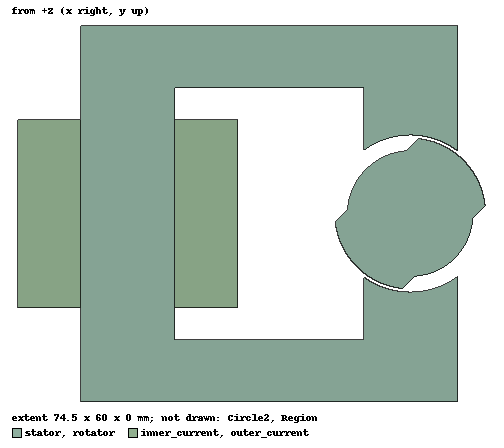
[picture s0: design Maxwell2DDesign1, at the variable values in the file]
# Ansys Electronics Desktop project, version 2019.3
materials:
  vacuum: permittivity=1
  lead: permeability=0.999983 conductivity=5000000
  iron: permeability=4000 conductivity=10300000
  copper: permeability=0.999991 conductivity=58000000
  steel_1008: permeability{HUnit=A_per_meter BUnit=tesla curve (0, 0) (159.2, 0.2402) (318.3, 0.8654) (477.5, 1.1106) (636.6, 1.2458) (795.8, 1.331) (1591.5, 1.5) (3183.1, 1.6) (4774.6, 1.683) (6366.2, 1.741) (7957.7, 1.78) (15915.5, 1.905) (31831, 2.025) (47746.5, 2.085) (63662, 2.13) (79577.5, 2.165) (159155, 2.28) (318310, 2.485) (397887, 2.5851)} conductivity=2000000
  Stainless steel, 430, annealed: permeability=2000 conductivity=1702130 magnetic_coercivity{Magnitude=-159.155A_per_meter DirComp1=1 DirComp2=0 DirComp3=0}
  steel_1010: permittivity=1 permeability{HUnit=A_per_meter BUnit=tesla curve (0, 0) (238.7, 0.2003) (318.3, 0.3204) (358.1, 0.40045) (437.7, 0.50055) (477.5, 0.5606) (636.6, 0.7908) (795.8, 0.931) (1114.1, 1.1014) (1273.2, 1.2016) (1591.5, 1.302) (2228.2, 1.4028) (3183.1, 1.524) (4774.6, 1.626) (6366.2, 1.698) (7957.7, 1.73) (15915.5, 1.87) (31831, 1.99) (47746.5, 2.04) (63662, 2.07) (79577.5, 2.095) (159155, 2.2) (318310, 2.4)} conductivity=2000000 lande_g_factor=2

design Maxwell2DDesign1 (Maxwell 2D, Transient, XY geometry, model units mm)
options: ComputeTransientInductance ModelDepth=20mm Multiplier=1
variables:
  r_inner = 10mm
  rect_inner_x = 15mm
  rect_inner_y = 18.7338mm
  r_outer = 12mm
  r_envelope = 12.5mm
  stator_width = 15mm
  stator_length = 40mm
  inner_space = 30mm
  length = 60mm
  copper_x = 10mm
  copper_y = 30mm
  r_band = 12.4mm
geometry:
  circle_inner = circle(normal=Z, centre=(0mm, 0mm, 0mm), radius=r_inner)
  Rectangle1 = rectangle(corner=(-rect_inner_x/2, -rect_inner_y/2 -5mm, 0mm), x_size=rect_inner_x, y_size=rect_inner_y+10mm)
  circle_inner.subtract(Rectangle1)
  rotator [steel_1010] = circle(normal=Z, centre=(0mm, 0mm, 0mm), radius=r_outer)
  Rectangle2 = rectangle(corner=(-rect_inner_x/2, -rect_inner_y/2, 0mm), x_size=rect_inner_x, y_size=rect_inner_y)
  Rectangle2.unite(circle_inner)
  Rectangle3 = rectangle(corner=(-12mm, -rect_inner_y/2, 0mm), x_size=24mm, y_size=rect_inner_y)
  rotator.subtract(Rectangle3)
  rotator.unite(Rectangle2)
  rotator.rotate(axis=Z, angle=-45deg)
  Circle1 = circle(normal=Z, centre=(0mm, 0mm, 0mm), radius=r_envelope)
  Rectangle4 = rectangle(corner=(-stator_width/2, -stator_length/2, 0mm), x_size=-inner_space, y_size=stator_length)
  stator [steel_1010] = rectangle(corner=(stator_width/2, -length/2, 0mm), x_size=-length, y_size=length)
  stator.subtract(Rectangle4)
  stator.subtract(Circle1)
  inner_current [copper] = rectangle(corner=(-length/2-stator_width/2, -copper_y/2, 0mm), x_size=copper_x, y_size=copper_y)
  outer_current [copper] = rectangle(corner=(-length +stator_width/2-copper_x, -copper_y/2, 0mm), x_size=copper_x, y_size=copper_y)
  Region [vacuum] = region(percentage_offset: +X=20, -X=30, +Y=60, -Y=60, +Z=0, -Z=0)
  Circle2 [vacuum] = circle(normal=Z, centre=(0mm, 0mm, 0mm), radius=r_band)
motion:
  MotionSetup1: Band Move_Type=Rotate Coordinate_System=Global Axis=Z Is_Positive=true InitPos=-45deg Angular_Velocity=0rpm Moment_of_Inertia=0.0001 Damping=0 Load_Torque=0NewtonMeter Objects=Circle2
  Moving1: Moving Objects=rotator
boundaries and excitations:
  VectorPotential1: Vector Potential Edges=Region.edge(all 4) Value=0
  inner_current: Coil Objects=inner_current Conductor_number=250 Winding=Winding1 PolarityType=Positive
  outer_current: Coil Objects=outer_current Conductor_number=250 Winding=Winding1 PolarityType=Negative
  Winding1: Winding Group Type=Current IsSolid=false Current=3A ParallelBranchesNum=1
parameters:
  Torque1: Torque Coordinate_System=Global Is_Positive=true Objects=rotator
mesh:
  Length1: LengthBased RefineInside Objects=Circle2 MaxLength="(4.96/2) mm"
  initial mesh: MeshMethod=AnsoftTAU
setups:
  Setup1: Transient NonlinearSolverResidual=0.0001 StopTime=300ms TimeStep=2ms SaveFieldsType="Every N Steps" N_Steps=10 Steps_From=0s Steps_To=300ms NumberSolveSteps=1 RangeStart=0s RangeEnd=0.1s InitialTimeStep=0.002s MinTimeStep=0.001s MaxTimeStep=0.003s TimeStepErrTolerance=0.0001
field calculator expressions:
  energy1 = energy | EnterVolume(AllObjects) | VolumeValue | Integrate
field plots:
  B_Vector1: B over rotator, stator, inner_current, outer_current, Region, Circle2 on Setup1 : Transient at Time=0.1s
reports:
  Torque Plot: Torque1.Torque vs Time on Setup1 : Transient
  Winding Plot 1: L(Winding1,Winding1) vs Time on Setup1 : Transient
  Torque Plot 2: Torque1.Torque vs Time on Setup1 : Transient
  Calculator Expressions Table 1: energy1 vs Time on Setup1 : Transient
  Calculator Expressions Plot 1: energy1 vs Time on Setup1 : Transient
  Torque: Torque1.Torque vs Moving1.Position on Setup1 : Transient
  Inductance: L(Winding1,Winding1) vs Moving1.Position on Setup1 : Transient
  Energy: energy1/50 vs Time on Setup1 : Transient
